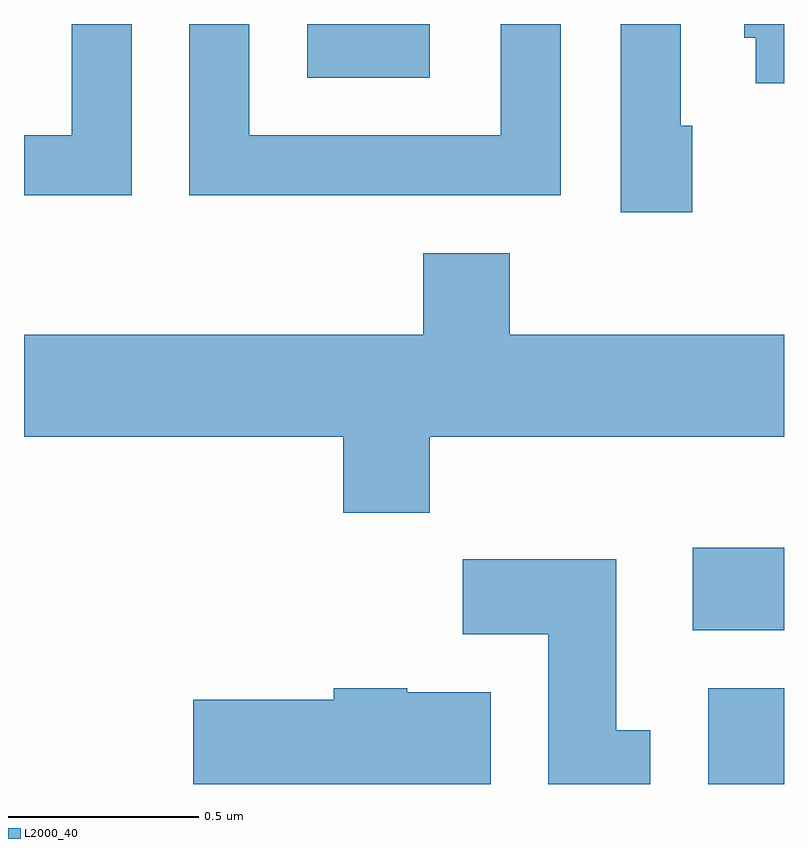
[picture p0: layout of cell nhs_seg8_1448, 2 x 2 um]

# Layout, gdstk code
import gdstk
lib = gdstk.Library(unit=1e-6, precision=1e-09)
def R(c, l, rs):  # rectangles x0, y0, x1, y1
    for r in rs: c.add(gdstk.rectangle(r[:2], r[2:], *l))
def P(c, l, *ps):  # polygons
    for p in ps: c.add(gdstk.Polygon(p, *l))
L2000_40 = (2000, 40)

nhs_seg8_1448 = lib.new_cell('nhs_seg8_1448')
R(nhs_seg8_1448, L2000_40, [(197.411,1884.342,197.611,1884.594), (197.371,1884.746,197.611,1884.964), (196.356,1886.201,196.679,1886.342)])
P(nhs_seg8_1448, L2000_40, [(195.894,1886.342),(195.736,1886.342),(195.736,1886.049),(195.611,1886.049),(195.611,1885.891),(195.894,1885.891)],
  [(197.369,1886.074),(197.339,1886.074),(197.339,1886.342),(197.181,1886.342),(197.181,1885.846),(197.369,1885.846)],
  [(197.611,1886.342),(197.506,1886.342),(197.506,1886.306),(197.536,1886.306),(197.536,1886.186),(197.611,1886.186)],
  [(197.024,1886.342),(196.866,1886.342),(196.866,1886.049),(196.204,1886.049),(196.204,1886.342),(196.046,1886.342),(196.046,1885.891),(197.024,1885.891)],
  [(196.679,1885.256),(197.611,1885.256),(197.611,1885.524),(196.889,1885.524),(196.889,1885.739),(196.661,1885.739),(196.661,1885.524),(195.611,1885.524),(195.611,1885.256),(196.451,1885.256),(196.451,1885.056),(196.679,1885.056)],
  [(197.259,1884.484),(197.169,1884.484),(197.169,1884.934),(196.766,1884.934),(196.766,1884.736),(196.991,1884.736),(196.991,1884.342),(197.259,1884.342)],
  [(196.839,1884.584),(196.62,1884.584),(196.62,1884.594),(196.426,1884.594),(196.426,1884.564),(196.056,1884.564),(196.056,1884.342),(196.839,1884.342)])

lib.write_gds('nhs_seg8_1448.gds')
